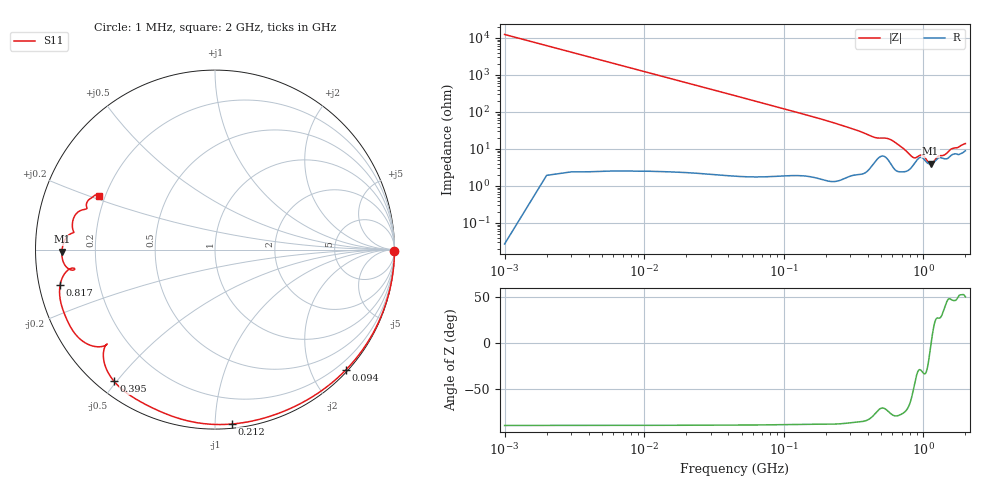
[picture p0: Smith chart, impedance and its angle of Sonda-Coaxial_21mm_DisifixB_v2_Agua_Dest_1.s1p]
! TOUCHSTONE file generated by CST MICROWAVE STUDIO
! Date and time: Tue Aug  4 15:55:24 2026
! Project name: Sonda-Coaxial_21mm_DisifixB_v2_Agua_Dest.cst
! Parameters = {h_recipiente=20; l_conector=5; r_arandela=35; r_ext=10.5; r_int=3; r_recipiente=50; z_recipiente=-5}
! Header version: 2018
! Port assignment regex: !\s*Touchstone port\s*([0-9]+)\s*=\s*(CST MWS port|CST DS port)\s*([0-9]+|Zmin|Zmax)\s*\(\"(.*)\"\)(\s*mode\s*([0-9]+))?.*
! Touchstone port assignment:
! Touchstone port 1 = CST MWS port 1 ("")
# GHz S RI R 50
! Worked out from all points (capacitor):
!   2000 points, 1 MHz to 2 GHz, reference 50 ohm
!   read as one part to ground: C = 12.9 pF near 11 MHz
!   lowest |Z| = 3.98 ohm at 1.126 GHz (marker M1)
!   series resonance near 1.137 GHz, so ESL is about 1.5 nH
!   S11 on the Smith chart (normalised r, x): 1 MHz: open; 94 MHz: 0.04, -2.57; 212 MHz: 0.03, -1.10; 395 MHz: 0.05, -0.49; 817 MHz: 0.06, -0.11; 2 GHz: 0.18, +0.21
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0.001  1 -0.00812
0.045  0.9322 -0.3552
0.094  0.7306 -0.6687
0.121  0.5874 -0.7904
0.149  0.4324 -0.8794
0.212  0.0922 -0.9719
0.251  -0.0997 -0.9645
0.312  -0.3347 -0.8886
0.395  -0.5637 -0.7321
0.44  -0.6204 -0.6129
0.471  -0.6167 -0.5502
0.501  -0.6026 -0.5261
0.544  -0.6182 -0.5369
0.598  -0.7099 -0.5267
0.66  -0.8001 -0.4392
0.751  -0.8576 -0.3009
0.817  -0.863 -0.1987
0.902  -0.8108 -0.1085
0.954  -0.7821 -0.1064
1.001  -0.7964 -0.1146
1.126  -0.8528 -0.0111
1.251  -0.8055 0.0877
1.364  -0.7913 0.1093
1.501  -0.7776 0.1942
1.62  -0.7235 0.2246
1.751  -0.7164 0.2432
1.847  -0.6945 0.2841
2  -0.6442 0.2988
